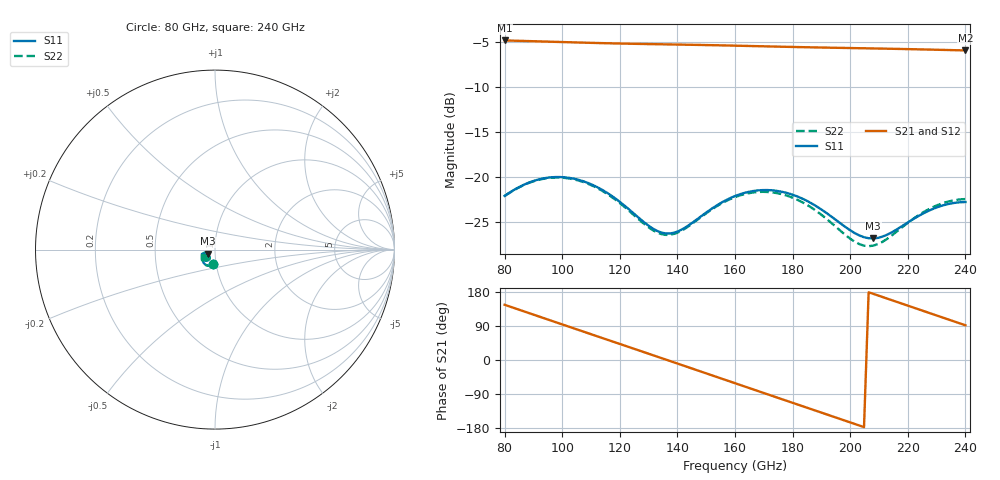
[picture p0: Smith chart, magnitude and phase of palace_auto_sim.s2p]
#  GHZ S DB R 50
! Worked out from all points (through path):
!   101 points, 80 GHz to 240 GHz, reference 50 ohm
!   highest |S21| = -4.78 dB at 80 GHz (marker M1); lowest = -5.9 dB at 240 GHz (marker M2)
!   group delay of S21, straight-line fit = 7.19 ps
!   lowest |S11| = -26.9 dB at 208 GHz (marker M3), VSWR 1.10, Z = 46.2 - j2.18 ohm
!   |S11| at or under -10 dB: start of sweep to end of sweep
!   |S22| runs from -27.7 to -20.1 dB; largest |S21 - S12| = 6.5e-14
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80  -22.12 -98.0  -4.78 145.7  -4.78 145.7  -22.14 -97.8
88  -20.69 -105.2  -4.85 125.0  -4.85 125.0  -20.73 -105.1
94.4  -20.11 -114.2  -4.90 108.4  -4.90 108.4  -20.16 -114.2
100.8  -20.05 -124.3  -4.96 91.9  -4.96 91.9  -20.11 -124.2
107.2  -20.47 -134.1  -5.02 75.3  -5.02 75.3  -20.56 -134.1
113.6  -21.39 -142.7  -5.07 58.8  -5.07 58.8  -21.50 -142.6
121.6  -23.20 -149.2  -5.13 38.2  -5.13 38.2  -23.35 -149.1
128  -24.95 -148.2  -5.17 21.7  -5.17 21.7  -25.13 -147.8
134.4  -26.21 -139.4  -5.21 5.2  -5.21 5.2  -26.38 -138.6
139.2  -26.20 -130.3  -5.23 -7.2  -5.23 -7.2  -26.33 -129.4
147.2  -24.64 -121.8  -5.28 -28.0  -5.28 -28.0  -24.73 -121.1
160  -22.14 -128.5  -5.36 -61.2  -5.36 -61.2  -22.26 -128.4
166.4  -21.57 -136.3  -5.41 -77.8  -5.41 -77.8  -21.74 -136.4
172.8  -21.50 -144.8  -5.45 -94.4  -5.45 -94.4  -21.73 -145.0
179.2  -21.90 -152.9  -5.50 -110.9  -5.50 -110.9  -22.22 -153.3
187.2  -23.07 -160.9  -5.55 -131.6  -5.55 -131.6  -23.57 -161.3
198.4  -25.61 -162.1  -5.62 -160.5  -5.62 -160.5  -26.49 -160.5
203.2  -26.54 -156.7  -5.64 -173.0  -5.64 -173.0  -27.50 -152.9
208  -26.87 -148.8  -5.67 174.6  -5.67 174.6  -27.67 -142.4
214.4  -26.19 -139.6  -5.71 158.0  -5.71 158.0  -26.54 -131.9
227.2  -23.79 -138.8  -5.79 124.8  -5.79 124.8  -23.62 -132.6
240  -22.81 -151.1  -5.89 91.6  -5.89 91.6  -22.47 -146.1
